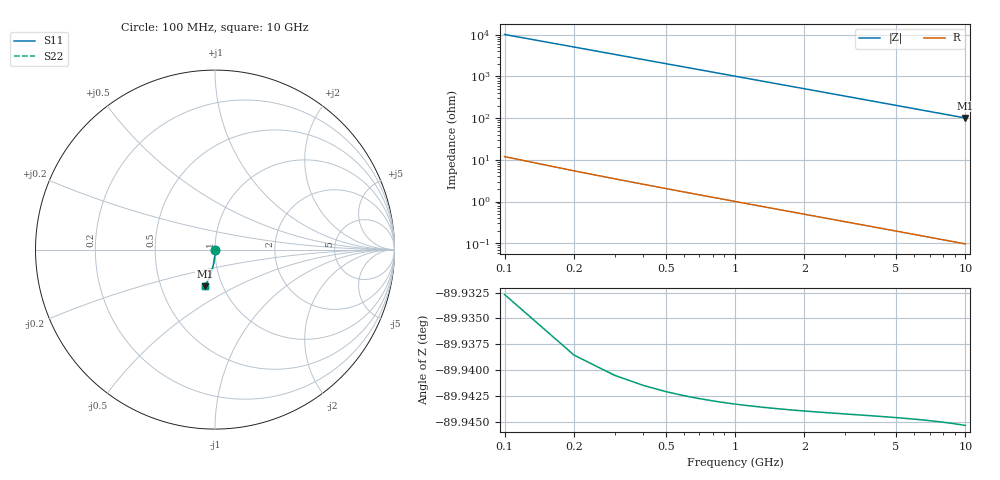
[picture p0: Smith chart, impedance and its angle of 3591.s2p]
# Hz S RI R 50.00
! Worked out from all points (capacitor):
!   100 points, 100 MHz to 10 GHz, reference 50 ohm
!   read as one part in shunt: C = 156 fF near 100 MHz
!   lowest |Z| = 101 ohm at 10 GHz (marker M1)
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1e8  8.14e-05 -0.00216  0.9999 -0.00275  0.9999 -0.00275  8.14e-05 -0.00216
2e8  6.18e-05 -0.00431  0.9999 -0.00551  0.9999 -0.00551  6.18e-05 -0.00431
3e8  3.02e-05 -0.00647  0.9998 -0.00826  0.9998 -0.00826  3.02e-05 -0.00647
4e8  -1.34e-05 -0.00863  0.9998 -0.011  0.9998 -0.011  -1.34e-05 -0.00863
5e8  -6.9e-05 -0.0108  0.9997 -0.0138  0.9997 -0.0138  -6.9e-05 -0.0108
6e8  -0.000137 -0.0129  0.9997 -0.0165  0.9997 -0.0165  -0.000137 -0.0129
7e8  -0.000216 -0.0151  0.9996 -0.0193  0.9996 -0.0193  -0.000216 -0.0151
8e8  -0.000307 -0.0173  0.9995 -0.022  0.9995 -0.022  -0.000307 -0.0173
9e8  -0.000411 -0.0194  0.9994 -0.0248  0.9994 -0.0248  -0.000411 -0.0194
1.1e9  -0.000653 -0.0237  0.9991 -0.0303  0.9991 -0.0303  -0.000653 -0.0237
1.4e9  -0.00111 -0.0302  0.9987 -0.0386  0.9987 -0.0386  -0.00111 -0.0302
1.8e9  -0.00188 -0.0388  0.9979 -0.0496  0.9979 -0.0496  -0.00188 -0.0388
2.1e9  -0.00258 -0.0452  0.9972 -0.0578  0.9972 -0.0578  -0.00258 -0.0452
2.5e9  -0.00368 -0.0538  0.996 -0.0688  0.996 -0.0688  -0.00368 -0.0538
2.9e9  -0.00497 -0.0624  0.9947 -0.0797  0.9947 -0.0797  -0.00497 -0.0624
3.4e9  -0.00685 -0.073  0.9927 -0.0934  0.9927 -0.0934  -0.00685 -0.073
4.2e9  -0.0105 -0.0899  0.989 -0.1151  0.989 -0.1151  -0.0105 -0.0899
5.1e9  -0.0154 -0.1087  0.9839 -0.1394  0.9839 -0.1394  -0.0154 -0.1087
5.9e9  -0.0206 -0.1252  0.9786 -0.1607  0.9786 -0.1607  -0.0206 -0.1252
6.7e9  -0.0265 -0.1414  0.9725 -0.1817  0.9725 -0.1817  -0.0265 -0.1414
8.4e9  -0.0412 -0.1746  0.9573 -0.2254  0.9573 -0.2254  -0.0412 -0.1746
1e10  -0.0577 -0.2043  0.9403 -0.2649  0.9403 -0.2649  -0.0577 -0.2043
